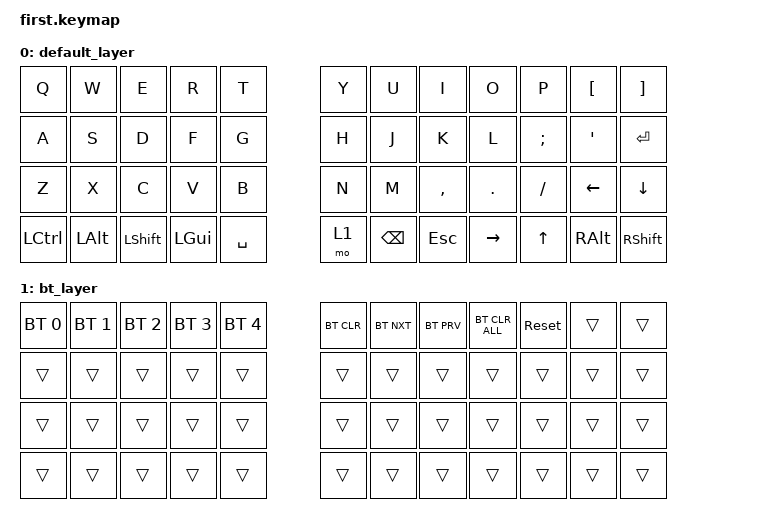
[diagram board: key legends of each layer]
#include <behaviors.dtsi>
#include <dt-bindings/zmk/keys.h>
#include <dt-bindings/zmk/bt.h>

/ {
    keymap {
        compatible = "zmk,keymap";

        default_layer {
            bindings = <
                &kp Q       &kp W       &kp E       &kp R       &kp T       &kp Y
                &kp U       &kp I       &kp O       &kp P       &kp LBKT    &kp RBKT
                &kp A       &kp S       &kp D       &kp F       &kp G       &kp H
                &kp J       &kp K       &kp L       &kp SEMI     &kp SQT     &kp ENTER
                &kp Z       &kp X       &kp C       &kp V       &kp B       &kp N
                &kp M       &kp COMMA    &kp DOT     &kp SLASH    &kp LEFT    &kp DOWN
                &kp LCTRL   &kp LALT     &kp LSHIFT   &kp LGUI     &kp SPACE   &mo 1
                &kp BSPC    &kp ESC      &kp RIGHT    &kp UP       &kp RALT    &kp RSHIFT
            >;
        };

        bt_layer {
            bindings = <
                &bt BT_SEL 0 &bt BT_SEL 1 &bt BT_SEL 2 &bt BT_SEL 3 &bt BT_SEL 4 &bt BT_CLR
                &bt BT_NXT   &bt BT_PRV   &bt BT_CLR_ALL &sys_reset &trans &trans
                &trans       &trans       &trans        &trans      &trans &trans
                &trans       &trans       &trans        &trans      &trans &trans
                &trans       &trans       &trans        &trans      &trans &trans
                &trans       &trans       &trans        &trans      &trans &trans
                &trans       &trans       &trans        &trans      &trans &trans
                &trans       &trans       &trans        &trans      &trans &trans
            >;
        };
    };
};
